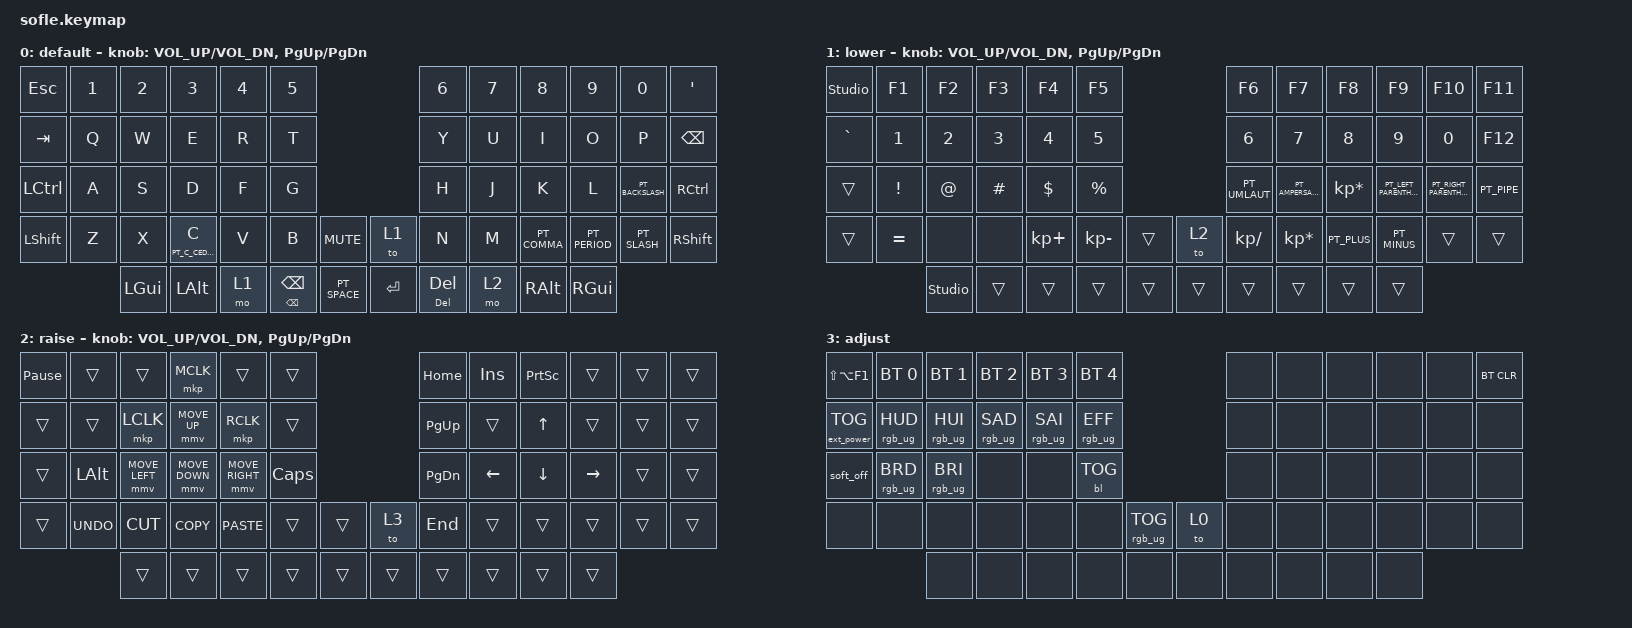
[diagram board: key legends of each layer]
/*
 * Copyright (c) 2020 The ZMK Contributors
 *
 * SPDX-License-Identifier: MIT
 */

#include "keys_pt_abnt2.h"
#include <behaviors.dtsi>
#include <dt-bindings/zmk/backlight.h>
#include <dt-bindings/zmk/bt.h>
#include <dt-bindings/zmk/ext_power.h>
#include <dt-bindings/zmk/keys.h>
#include <dt-bindings/zmk/pointing.h>
#include <dt-bindings/zmk/rgb.h>

#define BASE 0
#define LOWER 1
#define RAISE 2
#define ADJUST 3

/ {
    // Activate ADJUST layer by pressing raise and lower

    conditional_layers {
        compatible = "zmk,conditional-layers";

        adjust_layer {
            if-layers = <1 2>;
            then-layer = <3>;
        };
    };

    combos {
        compatible = "zmk,combos";

        less_than {
            bindings = <&kp LESS_THAN>;
            key-positions = <31 20>;
        };

        greater_than {
            bindings = <&kp GREATER_THAN>;
            key-positions = <19 32>;
        };

        question_mark {
            bindings = <&kp PT_QUESTION>;
            key-positions = <31 21>;
        };

        exclamation_mark {
            bindings = <&kp PT_EXCL>;
            key-positions = <19 33>;
        };

        accent_grave {
            bindings = <&kp PT_GRAVE>;
            key-positions = <28 15>;
        };

        accent_acute {
            bindings = <&kp PT_ACUTE>;
            key-positions = <32 21>;
        };

        accent_tilde {
            bindings = <&kp PT_TILDE>;
            key-positions = <31 33>;
        };

        accent_hat {
            bindings = <&kp PT_CARET>;
            key-positions = <19 21>;
        };

        single_quote {
            bindings = <&kp PT_SINGLE_QUOTE>;
            key-positions = <25 27>;
        };

        double_quote {
            bindings = <&kp PT_DOUBLE_QUOTES>;
            key-positions = <13 15>;
        };

        semicolon {
            bindings = <&kp PT_SEMICOLON>;
            key-positions = <26 28>;
        };

        colon {
            bindings = <&kp PT_COLON>;
            key-positions = <14 16>;
        };

        comma {
            bindings = <&kp PT_COMMA>;
            key-positions = <26 27>;
        };

        period {
            bindings = <&kp PT_PERIOD>;
            key-positions = <14 15>;
        };

        equal {
            bindings = <&kp PT_EQUAL>;
            key-positions = <19 18>;
        };

        dash {
            bindings = <&kp PT_MINUS>;
            key-positions = <31 30>;
        };

        underline {
            bindings = <&kp PT_UNDERSCORE>;
            key-positions = <45 44>;
        };

        left_parenthesis {
            bindings = <&kp PT_LEFT_PARENTHESIS>;
            key-positions = <27 28>;
        };

        right_parenthesis {
            bindings = <&kp RIGHT_PARENTHESIS>;
            key-positions = <28 29>;
        };

        left_bracket {
            bindings = <&kp PT_LEFT_BRACKET>;
            key-positions = <15 16>;
        };

        right_bracket {
            bindings = <&kp PT_RIGHT_BRACKET>;
            key-positions = <16 17>;
        };

        left_brace {
            bindings = <&kp PT_LEFT_BRACE>;
            key-positions = <39 40>;
        };

        right_brace {
            bindings = <&kp PT_RIGHT_BRACE>;
            key-positions = <41 40>;
        };

        triple_backtick_combo {
            bindings = <&triple_backtick_>;
            key-positions = <29 16>;
        };

        triple_simple_quote {
            bindings = <&triple_simple_quote>;
            key-positions = <17 29>;
        };
    };

    behaviors {
        hold: hold {
            compatible = "zmk,behavior-hold-tap";
            label = "HOLD";
            bindings = <&kp>, <&kp>;

            #binding-cells = <2>;
            tapping-term-ms = <180>;
            hold-trigger-key-positions = <39>;
        };
    };

    macros {
        triple_backtick_: triple_backtick {
            compatible = "zmk,behavior-macro";
            #binding-cells = <0>;
            bindings = <&kp PT_GRAVE &kp PT_GRAVE &kp PT_GRAVE>;
            label = "TRIPLE_BACKTICK";
        };

        triple_simple_quote: triple_simple_quote {
            compatible = "zmk,behavior-macro";
            #binding-cells = <0>;
            bindings = <&kp PT_GRAVE &kp PT_GRAVE &kp PT_GRAVE &kp PT_SPACE>;
            label = "TRIPLE_SIMPLE_QUOTE";
        };
    };

    keymap {
        compatible = "zmk,keymap";

        default_layer {
            label = "default";

            // ------------------------------------------------------------------------------------------------------------
            // |   `   |  1  |  2  |  3   |  4   |  5   |                   |  6   |  7    |  8    |  9   |   0   |       |
            // |  ESC  |  Q  |  W  |  E   |  R   |  T   |                   |  Y   |  U    |  I    |  O   |   P   | BKSPC |
            // |  TAB  |  A  |  S  |  D   |  F   |  G   |                   |  H   |  J    |  K    |  L   |   ;   |   '   |
            // | SHIFT |  Z  |  X  |  C   |  V   |  B   |  MUTE  |  |       |  N   |  M    |  ,    |  .   |   /   | SHIFT |
            //               | GUI | ALT  | CTRL | LOWER|  ENTER |  | SPACE | RAISE| CTRL  | ALT   | GUI  |

            bindings = <
&kp ESCAPE        &kp N1  &kp N2    &kp N3                &kp N4  &kp N5                                                &kp N6               &kp N7  &kp N8        &kp N9         &kp N0            &kp SINGLE_QUOTE
&kp TAB           &kp Q   &kp W     &kp E                 &kp R   &kp T                                                 &kp Y                &kp U   &kp I         &kp O          &kp P             &kp BSPC
&kp LEFT_CONTROL  &kp A   &kp S     &kp D                 &kp F   &kp G                                                 &kp H                &kp J   &kp K         &kp L          &kp PT_BACKSLASH  &kp RIGHT_CONTROL
&kp LEFT_SHIFT    &kp Z   &kp X     &hold PT_C_CEDILLA C  &kp V   &kp B                      &kp C_MUTE      &to 1      &kp N                &kp M   &kp PT_COMMA  &kp PT_PERIOD  &kp PT_SLASH      &kp RIGHT_SHIFT
                          &kp LGUI  &kp LALT              &mo 1   &hold BACKSPACE BACKSPACE  &kp PT_SPACE    &kp ENTER  &hold DELETE DELETE  &mo 2   &kp RALT      &kp RGUI
            >;

            sensor-bindings = <&inc_dec_kp C_VOL_UP C_VOL_DN &inc_dec_kp PG_UP PG_DN>;
        };

        lower_layer {
            label = "lower";

            // TODO: Some binds are waiting for shifted keycode support.
            // ------------------------------------------------------------------------------------------------------------
            // |       |  F1 |  F2 |  F3  |  F4  |  F5  |                   |  F6  |  F7   |  F8   |  F9  |  F10  |  F11  |
            // |   `   |  1  |  2  |  3   |  4   |  5   |                   |  6   |  7    |  8    |  9   |   0   |  F12  |
            // |       |  !  |  @  |  #   |  $   |  %   |                   |  ^   |  &    |  *    |  (   |   )   |   |   |
            // |       |  =  |  -  |  +   |  {   |  }   |        |  |       |  [   |  ]    |  ;    |  :   |   \   |       |
            //               |     |      |      |      |        |  |       |      |       |       |      |

            bindings = <
&studio_unlock  &kp F1     &kp F2          &kp F3    &kp F4       &kp F5                          &kp F6         &kp F7            &kp F8           &kp F9                   &kp F10                   &kp F11
&kp GRAVE       &kp N1     &kp N2          &kp N3    &kp N4       &kp N5                          &kp N6         &kp N7            &kp N8           &kp N9                   &kp N0                    &kp F12
&trans          &kp EXCL   &kp AT          &kp HASH  &kp DLLR     &kp PRCNT                       &kp PT_UMLAUT  &kp PT_AMPERSAND  &kp KP_MULTIPLY  &kp PT_LEFT_PARENTHESIS  &kp PT_RIGHT_PARENTHESIS  &kp PT_PIPE
&trans          &kp EQUAL  &none           &none     &kp KP_PLUS  &kp KP_MINUS  &trans    &to 2   &kp KP_DIVIDE  &kp KP_MULTIPLY   &kp PT_PLUS      &kp PT_MINUS             &trans                    &trans
                           &studio_unlock  &trans    &trans       &trans        &trans    &trans  &trans         &trans            &trans           &trans
            >;

            sensor-bindings = <&inc_dec_kp C_VOL_UP C_VOL_DN &inc_dec_kp PG_UP PG_DN>;
        };

        raise_layer {
            label = "raise";

            // ------------------------------------------------------------------------------------------------------------
            // | BTCLR | BT1  | BT2  |  BT3  |  BT4  |  BT5 |                |      |      |       |      |       |       |
            // |       | INS  | PSCR | GUI   |       |      |                | PGUP |      |   ^   |      |       |       |
            // |       | ALT  | CTRL | SHIFT |       | CAPS |                | PGDN |   <- |   v   |  ->  |  DEL  | BKSPC |
            // |       | UNDO | CUT  | COPY  | PASTE |      |      |  |      |      |      |       |      |       |       |
            //                |      |       |       |      |      |  |      |      |      |       |      |

            bindings = <
&kp PAUSE_BREAK  &trans      &trans          &mkp MCLK       &trans           &trans                      &kp HOME   &kp INSERT  &kp PRINTSCREEN  &trans     &trans  &trans
&trans           &trans      &mkp LCLK       &mmv MOVE_UP    &mkp RCLK        &trans                      &kp PG_UP  &trans      &kp UP           &trans     &trans  &trans
&trans           &kp LALT    &mmv MOVE_LEFT  &mmv MOVE_DOWN  &mmv MOVE_RIGHT  &kp CLCK                    &kp PG_DN  &kp LEFT    &kp DOWN         &kp RIGHT  &trans  &trans
&trans           &kp K_UNDO  &kp K_CUT       &kp K_COPY      &kp K_PASTE      &trans    &trans    &to 3   &kp END    &trans      &trans           &trans     &trans  &trans
                             &trans          &trans          &trans           &trans    &trans    &trans  &trans     &trans      &trans           &trans
            >;

            sensor-bindings = <&inc_dec_kp C_VOL_UP C_VOL_DN &inc_dec_kp PG_UP PG_DN>;
        };

        adjust_layer {
            // ----------------------------------------------------------------------------------------------------------------------------
            // | BTCLR  |  BT1    |  BT2    |   BT3   |   BT4   |   BT5   |                  |      |      |       |      |       |       |
            // | EXTPWR | RGB_HUD | RGB_HUI | RGB_SAD | RGB_SAI | RGB_EFF |                  |      |      |       |      |       |       |
            // |        | RGB_BRD | RGB_BRI |         |         |         |                  |      |      |       |      |       |       |
            // |        |         |         |         |         |         | RGB_TOG | |      |      |      |       |      |       |       |
            //                    |         |         |         |         |         | |      |      |      |       |      |

            label = "adjust";
            bindings = <
&kp LS(LA(F1))     &bt BT_SEL 0     &bt BT_SEL 1     &bt BT_SEL 2     &bt BT_SEL 3     &bt BT_SEL 4                               &none  &none  &none  &none  &none  &bt BT_CLR
&ext_power EP_TOG  &rgb_ug RGB_HUD  &rgb_ug RGB_HUI  &rgb_ug RGB_SAD  &rgb_ug RGB_SAI  &rgb_ug RGB_EFF                            &none  &none  &none  &none  &none  &none
&soft_off          &rgb_ug RGB_BRD  &rgb_ug RGB_BRI  &none            &none            &bl BL_TOG                                 &none  &none  &none  &none  &none  &none
&none              &none            &none            &none            &none            &none            &rgb_ug RGB_TOG    &to 0  &none  &none  &none  &none  &none  &none
                                    &none            &none            &none            &none            &none              &none  &none  &none  &none  &none
            >;
        };
    };
};
